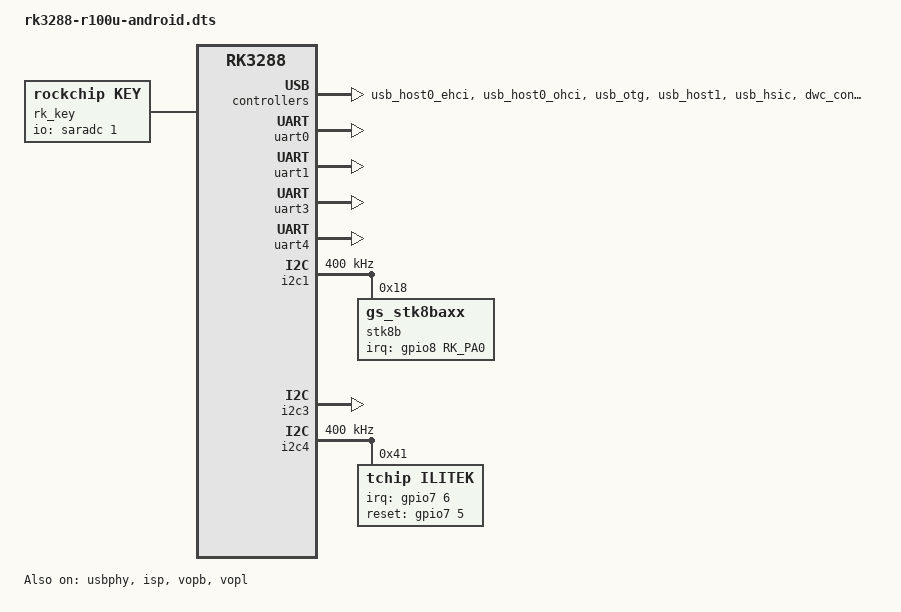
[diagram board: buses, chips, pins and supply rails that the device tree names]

/dts-v1/;
#include "rk3288-r100u-def.dtsi"

// #include "rk3288-r100u-edp-10p1inch-1920x1080.dtsi"
#include "rk3288-r100u-edp-15p6inch-1920x1080.dtsi"
// #include "rk3288-r100u-lvds-21p5inch-1920x1080.dtsi"
// #include "rk3288-r100u-mipi-10inch-1920x1080.dtsi"
// #include "rk3288-r100u-mipi-8inch-800x1280.dtsi"

/ {
	compatible = "rockchip,rk3288-evb-android-rk808-edp", "rockchip,rk3288";
   
	rk_key: rockchip-key {
		compatible = "rockchip,key";
		status = "okay";

		io-channels = <&saradc 1>;

		// vol-up-key {
		// 	linux,code = <115>;
		// 	label = "volume up";
		// 	rockchip,adc_value = <1>;
		// };

		// vol-down-key {
		// 	linux,code = <114>;
		// 	label = "volume down";
		// 	rockchip,adc_value = <170>;
		// };

		power-key {
			gpios = <&gpio0 5 GPIO_ACTIVE_LOW>;
			linux,code = <116>;
			pinctrl-names = "default";
			pinctrl-0 = <&pwrbtn>;
			label = "power";
			gpio-key,wakeup;
		};

		// menu-key {
		// 	linux,code = <59>;
		// 	label = "menu";
		// 	rockchip,adc_value = <355>;
		// };

		// home-key {
		// 	linux,code = <102>;
		// 	label = "home";
		// 	rockchip,adc_value = <746>;
		// };

		// back-key {
		// 	linux,code = <158>;
		// 	label = "back";
		// 	rockchip,adc_value = <560>;
		// };

		// camera-key {
		// 	linux,code = <212>;
		// 	label = "camera";
		// 	rockchip,adc_value = <450>;
		// };
	};
};

&usbphy {
	status = "okay";
};

&usb_host0_ehci {
	rockchip-relinquish-port;
	status = "okay";
};

&usb_host0_ohci {
	status = "okay";
};

&usb_otg {
	status = "okay";
};

// for kernel driver camera part
&isp {
    status = "okay";
    camera_power = <&gpio0 RK_PC1 GPIO_ACTIVE_HIGH>;
};

/** start usb host mode set ------------------------------------------------------*/
&usb_host1 {
	status = "okay";
};

&usb_hsic {
    status = "okay";
};

&dwc_control_usb {
    status = "okay";
    host_drv_gpio = <&gpio8 9 GPIO_ACTIVE_LOW>;
};
/** end usb host mode set --------------------------------------------------------*/

&vopb {
	status = "okay";
};

&vopb_mmu {
	status = "okay";
};

&vopl {
	status = "okay";
};

&vopl_mmu {
	status = "okay";
};

&uart0 {
	pinctrl-names = "default";
	pinctrl-0 = <&uart0_xfer &uart0_cts>;
	status = "okay";
};

&uart1 {
    status = "okay";
};

&uart2 {
	status = "disabled";
};

&uart3 {
    status = "okay";
    r100u-rs485-ctrl-gpio = <&gpio7 RK_PC0 GPIO_ACTIVE_LOW>;
};

&uart4 {
    status = "okay";
};

&i2c1 {
	status = "okay";
	clock-frequency = <400000>; // decode chip i2c speed max 100KHz
    
	stk8b@18 {
		compatible = "gs_stk8baxx";
		status = "okay";
		reg = <0x18>;
        type = <SENSOR_TYPE_ACCEL>;
        irq-gpio = <&gpio8 RK_PA0 GPIO_ACTIVE_HIGH>;
        irq_enable = <0>;
        poll_delay_ms = <200>;
        layout = <7>;
	};
};

&i2c3 {
	status = "okay";
};

&i2c4 {
	status = "okay";
	clock-frequency = <400000>;
    
	ilitek@41 {
        compatible = "tchip,ilitek";
        reg = <0x41>;
        screen_max_x = <1080>;
        screen_max_y = <1920>;
        ilitek,irq-gpio = <&gpio7 6 IRQ_TYPE_LEVEL_LOW>;
        ilitek,reset-gpio = <&gpio7 5 GPIO_ACTIVE_HIGH>;
    };
};

&pinctrl {
    buttons {
		pwrbtn: pwrbtn {
			rockchip,pins = <0 5 RK_FUNC_GPIO &pcfg_pull_up>;
		};
	};
};
